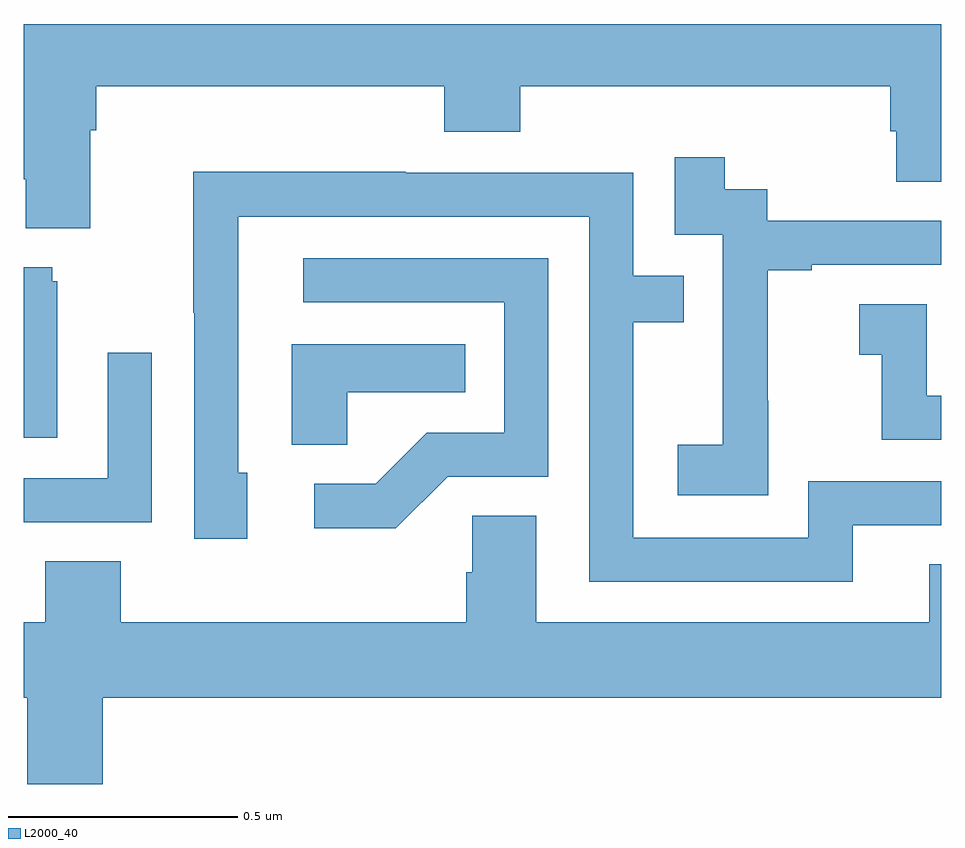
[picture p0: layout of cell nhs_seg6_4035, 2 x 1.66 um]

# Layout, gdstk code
import gdstk
lib = gdstk.Library(unit=1e-6, precision=1e-09)
def P(c, l, *ps):  # polygons
    for p in ps: c.add(gdstk.Polygon(p, *l))
L2000_40 = (2000, 40)

nhs_seg6_4035 = lib.new_cell('nhs_seg6_4035')
P(nhs_seg6_4035, L2000_40, [(165.145,919.268),(165.158,919.268),(165.158,919.364),(165.917,919.364),(165.917,919.265),(166.082,919.265),(166.082,919.364),(166.889,919.364),(166.889,919.266),(166.901,919.266),(166.901,919.156),(167,919.156),(167,919.5),(165,919.5),(165,919.162),(165.005,919.162),(165.005,919.055),(165.145,919.055)],
  [(166.623,918.679),(166.622,918.679),(166.622,918.963),(166.717,918.963),(166.717,918.975),(167,918.975),(167,919.071),(166.62,919.071),(166.62,919.14),(166.528,919.14),(166.528,919.21),(166.419,919.21),(166.419,919.041),(166.524,919.041),(166.524,918.812),(166.523,918.812),(166.523,918.583),(166.425,918.583),(166.425,918.473),(166.623,918.473)],
  [(166.807,918.408),(167,918.408),(167,918.504),(166.71,918.504),(166.71,918.381),(166.329,918.381),(166.329,918.85),(166.439,918.85),(166.439,918.951),(166.329,918.951),(166.329,919.176),(165.833,919.176),(165.833,919.178),(165.37,919.178),(165.37,918.871),(165.372,918.871),(165.372,918.378),(165.487,918.378),(165.487,918.522),(165.468,918.522),(165.468,919.08),(166.233,919.08),(166.233,918.285),(166.807,918.285)],
  [(165.924,918.513),(166.143,918.513),(166.143,918.99),(165.609,918.99),(165.609,918.894),(166.047,918.894),(166.047,918.609),(165.878,918.609),(165.767,918.498),(165.633,918.498),(165.633,918.401),(165.811,918.401)],
  [(165.073,918.939),(165.062,918.939),(165.062,918.97),(165,918.97),(165,918.599),(165.073,918.599)],
  [(167,918.69),(166.968,918.69),(166.968,918.889),(166.821,918.889),(166.821,918.779),(166.87,918.779),(166.87,918.594),(167,918.594)],
  [(165.705,918.698),(165.962,918.698),(165.962,918.802),(165.584,918.802),(165.584,918.583),(165.705,918.583)],
  [(165.279,918.784),(165.183,918.784),(165.183,918.51),(165,918.51),(165,918.414),(165.279,918.414)],
  [(165.172,918.032),(167,918.032),(167,918.323),(166.973,918.323),(166.973,918.196),(166.117,918.196),(166.117,918.428),(165.978,918.428),(165.978,918.305),(165.965,918.305),(165.965,918.196),(165.212,918.196),(165.212,918.329),(165.047,918.329),(165.047,918.196),(165,918.196),(165,918.032),(165.008,918.032),(165.008,917.844),(165.172,917.844)])

lib.write_gds('nhs_seg6_4035.gds')
